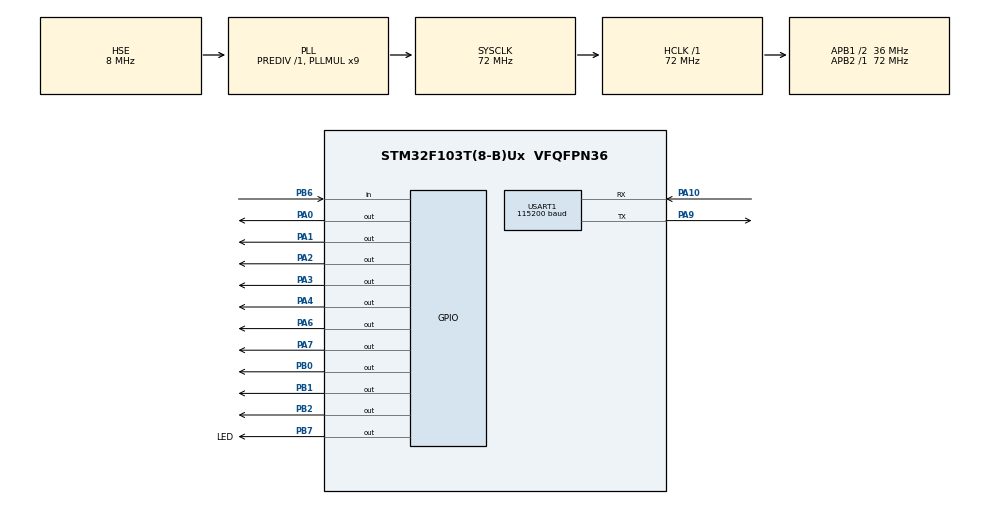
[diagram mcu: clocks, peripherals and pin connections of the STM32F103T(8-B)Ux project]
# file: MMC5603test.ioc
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Dma.Request0=USART1_RX
Dma.Request1=USART1_TX
Dma.USART1_RX.0.Direction=DMA_PERIPH_TO_MEMORY
Dma.USART1_RX.0.Instance=DMA1_Channel5
Dma.USART1_RX.0.MemDataAlignment=DMA_MDATAALIGN_BYTE
Dma.USART1_RX.0.MemInc=DMA_MINC_ENABLE
Dma.USART1_RX.0.Mode=DMA_NORMAL
Dma.USART1_RX.0.PeriphDataAlignment=DMA_PDATAALIGN_BYTE
Dma.USART1_RX.0.PeriphInc=DMA_PINC_DISABLE
Dma.USART1_RX.0.Priority=DMA_PRIORITY_LOW
Dma.USART1_TX.1.Direction=DMA_MEMORY_TO_PERIPH
Dma.USART1_TX.1.Instance=DMA1_Channel4
Dma.USART1_TX.1.MemDataAlignment=DMA_MDATAALIGN_BYTE
Dma.USART1_TX.1.MemInc=DMA_MINC_ENABLE
Dma.USART1_TX.1.Mode=DMA_NORMAL
Dma.USART1_TX.1.PeriphDataAlignment=DMA_PDATAALIGN_BYTE
Dma.USART1_TX.1.PeriphInc=DMA_PINC_DISABLE
Dma.USART1_TX.1.Priority=DMA_PRIORITY_VERY_HIGH
Mcu.Family=STM32F1
Mcu.Name=STM32F103T(8-B)Ux
Mcu.Package=VFQFPN36
NVIC.DMA1_Channel4_IRQn=true\:0\:0\:false\:false\:true\:false\:true\:true
NVIC.DMA1_Channel5_IRQn=true\:0\:0\:false\:false\:true\:false\:true\:true
NVIC.PriorityGroup=NVIC_PRIORITYGROUP_4
NVIC.TIM2_IRQn=true\:0\:0\:false\:false\:true\:true\:true\:true
NVIC.USART1_IRQn=true\:0\:0\:false\:false\:true\:true\:true\:true
PA0-WKUP.GPIO_ModeDefaultOutputPP=GPIO_MODE_OUTPUT_OD
PA0-WKUP.GPIO_PuPd=GPIO_NOPULL
PA0-WKUP.GPIO_Speed=GPIO_SPEED_FREQ_HIGH
PA0-WKUP.PinState=GPIO_PIN_SET
PA0-WKUP.Signal=GPIO_Output
PA1.GPIO_ModeDefaultOutputPP=GPIO_MODE_OUTPUT_OD
PA1.GPIO_PuPd=GPIO_NOPULL
PA1.GPIO_Speed=GPIO_SPEED_FREQ_HIGH
PA1.PinState=GPIO_PIN_SET
PA1.Signal=GPIO_Output
PA10.GPIO_PuPd=GPIO_PULLUP
PA10.Mode=Asynchronous
PA10.Signal=USART1_RX
PA13.Mode=Serial_Wire
PA13.Signal=SYS_JTMS-SWDIO
PA14.Mode=Serial_Wire
PA14.Signal=SYS_JTCK-SWCLK
PA2.GPIO_ModeDefaultOutputPP=GPIO_MODE_OUTPUT_OD
PA2.GPIO_PuPd=GPIO_NOPULL
PA2.GPIO_Speed=GPIO_SPEED_FREQ_HIGH
PA2.PinState=GPIO_PIN_SET
PA2.Signal=GPIO_Output
PA3.GPIO_ModeDefaultOutputPP=GPIO_MODE_OUTPUT_OD
PA3.GPIO_PuPd=GPIO_NOPULL
PA3.GPIO_Speed=GPIO_SPEED_FREQ_HIGH
PA3.PinState=GPIO_PIN_SET
PA3.Signal=GPIO_Output
PA4.GPIO_ModeDefaultOutputPP=GPIO_MODE_OUTPUT_OD
PA4.GPIO_PuPd=GPIO_NOPULL
PA4.GPIO_Speed=GPIO_SPEED_FREQ_HIGH
PA4.PinState=GPIO_PIN_SET
PA4.Signal=GPIO_Output
PA6.GPIO_ModeDefaultOutputPP=GPIO_MODE_OUTPUT_OD
PA6.GPIO_PuPd=GPIO_NOPULL
PA6.GPIO_Speed=GPIO_SPEED_FREQ_HIGH
PA6.PinState=GPIO_PIN_SET
PA6.Signal=GPIO_Output
PA7.GPIO_ModeDefaultOutputPP=GPIO_MODE_OUTPUT_OD
PA7.GPIO_PuPd=GPIO_NOPULL
PA7.GPIO_Speed=GPIO_SPEED_FREQ_HIGH
PA7.PinState=GPIO_PIN_SET
PA7.Signal=GPIO_Output
PA9.Mode=Asynchronous
PA9.Signal=USART1_TX
PB0.GPIO_ModeDefaultOutputPP=GPIO_MODE_OUTPUT_OD
PB0.GPIO_PuPd=GPIO_NOPULL
PB0.GPIO_Speed=GPIO_SPEED_FREQ_HIGH
PB0.PinState=GPIO_PIN_SET
PB0.Signal=GPIO_Output
PB1.GPIO_ModeDefaultOutputPP=GPIO_MODE_OUTPUT_OD
PB1.GPIO_PuPd=GPIO_NOPULL
PB1.GPIO_Speed=GPIO_SPEED_FREQ_HIGH
PB1.PinState=GPIO_PIN_SET
PB1.Signal=GPIO_Output
PB2.GPIO_ModeDefaultOutputPP=GPIO_MODE_OUTPUT_OD
PB2.GPIO_PuPd=GPIO_NOPULL
PB2.GPIO_Speed=GPIO_SPEED_FREQ_HIGH
PB2.PinState=GPIO_PIN_SET
PB2.Signal=GPIO_Output
PB6.GPIO_Mode=GPIO_MODE_INPUT
PB6.GPIO_PuPd=GPIO_PULLUP
PB6.Signal=GPIO_Input
PB7.GPIO_Label=LED
PB7.GPIO_Speed=GPIO_SPEED_FREQ_HIGH
PB7.Signal=GPIO_Output
PD0-OSC_IN.Mode=HSE-External-Oscillator
PD0-OSC_IN.Signal=RCC_OSC_IN
PD1-OSC_OUT.Mode=HSE-External-Oscillator
PD1-OSC_OUT.Signal=RCC_OSC_OUT
ProjectManager.HeapSize=0x200
ProjectManager.StackSize=0x400
ProjectManager.TargetToolchain=MDK-ARM V5.32
RCC.AHBFreq_Value=72000000
RCC.APB1CLKDivider=RCC_HCLK_DIV2
RCC.APB1Freq_Value=36000000
RCC.APB1TimFreq_Value=72000000
RCC.APB2Freq_Value=72000000
RCC.APB2TimFreq_Value=72000000
RCC.HCLKFreq_Value=72000000
RCC.PLLMUL=RCC_PLL_MUL9
RCC.PLLSourceVirtual=RCC_PLLSOURCE_HSE
RCC.SYSCLKFreq_VALUE=72000000
RCC.SYSCLKSource=RCC_SYSCLKSOURCE_PLLCLK
RCC.USBFreq_Value=72000000
TIM1.Prescaler=72-1
TIM2.Prescaler=7200-1
USART1.BaudRate=115200
USART1.VirtualMode=VM_ASYNC
VP_TIM1_VS_ClockSourceINT.Mode=Internal
VP_TIM2_VS_ClockSourceINT.Mode=Internal
board=custom

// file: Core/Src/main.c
/* USER CODE BEGIN Header */
/**
  ******************************************************************************
  * @file           : main.c
  * @brief          : Main program body
  ******************************************************************************
  * @attention
  *
  * Copyright (c) 2023 STMicroelectronics.
  * All rights reserved.
  *
  * This software is licensed under terms that can be found in the LICENSE file
  * in the root directory of this software component.
  * If no LICENSE file comes with this software, it is provided AS-IS.
  *
  ******************************************************************************
  */
/* USER CODE END Header */
#include "main.h"
#include "dma.h"
#include "tim.h"
#include "usart.h"
#include "gpio.h"

/* USER CODE BEGIN Includes */
#include <stdio.h>
#include "math.h"
#include "I2C_SW.h"
#include <string.h>
#include <stdlib.h>
/* USER CODE END Includes */

/* USER CODE BEGIN PV */
int32_t sensorValBuffer[5][5][4] = {0}; // x,y,z,Mag
uint32_t errorVal[1000];
int parameterM;
int minIndex;
uint8_t totalTestBit = 1;
SWI2C sensorList[25]={
	{GPIOA,GPIO_PIN_6,GPIOA,GPIO_PIN_0},
	{GPIOA,GPIO_PIN_6,GPIOA,GPIO_PIN_1},
	{GPIOA,GPIO_PIN_6,GPIOA,GPIO_PIN_2},
	{GPIOA,GPIO_PIN_6,GPIOA,GPIO_PIN_3},
	{GPIOA,GPIO_PIN_6,GPIOA,GPIO_PIN_4},

	{GPIOA,GPIO_PIN_7,GPIOA,GPIO_PIN_0},
	{GPIOA,GPIO_PIN_7,GPIOA,GPIO_PIN_1},
	{GPIOA,GPIO_PIN_7,GPIOA,GPIO_PIN_2},
	{GPIOA,GPIO_PIN_7,GPIOA,GPIO_PIN_3},
	{GPIOA,GPIO_PIN_7,GPIOA,GPIO_PIN_4},

	{GPIOB,GPIO_PIN_0,GPIOA,GPIO_PIN_0},
	{GPIOB,GPIO_PIN_0,GPIOA,GPIO_PIN_1},
	{GPIOB,GPIO_PIN_0,GPIOA,GPIO_PIN_2},
	{GPIOB,GPIO_PIN_0,GPIOA,GPIO_PIN_3},
	{GPIOB,GPIO_PIN_0,GPIOA,GPIO_PIN_4},

	{GPIOB,GPIO_PIN_1,GPIOA,GPIO_PIN_0},
	{GPIOB,GPIO_PIN_1,GPIOA,GPIO_PIN_1},
	{GPIOB,GPIO_PIN_1,GPIOA,GPIO_PIN_2},
	{GPIOB,GPIO_PIN_1,GPIOA,GPIO_PIN_3},
	{GPIOB,GPIO_PIN_1,GPIOA,GPIO_PIN_4},

	{GPIOB,GPIO_PIN_2,GPIOA,GPIO_PIN_0},
	{GPIOB,GPIO_PIN_2,GPIOA,GPIO_PIN_1},
	{GPIOB,GPIO_PIN_2,GPIOA,GPIO_PIN_2},
	{GPIOB,GPIO_PIN_2,GPIOA,GPIO_PIN_3},
	{GPIOB,GPIO_PIN_2,GPIOA,GPIO_PIN_4}

};

uint8_t txBuffer[1000];
/* USER CODE END PV */

void SystemClock_Config(void);

/* USER CODE BEGIN 0 */

// read who-am-i register
int testSensor(SWI2C sensorLabel){

	i2c_start(sensorLabel);
	i2c_send(sensorLabel,0x60); // Dummy Write 0x30 1
	if(i2c_wit_ack(sensorLabel)) printf("No ACK\n");
	i2c_send(sensorLabel,0x39);
	if(i2c_wit_ack(sensorLabel)) printf("No ACK\n");

	delay_us(50);
	i2c_start(sensorLabel);
	i2c_send(sensorLabel,0x61); // Read 0x30 1
	if(i2c_wit_ack(sensorLabel)) printf("No ACK\n");
	uint8_t dataSent = i2c_read(sensorLabel);
	i2c_no_ack(sensorLabel);
	i2c_stop(sensorLabel);
	if(dataSent == 0x10) {
		//printf("Test Succcess\n");
		return 1;
	}
	return 0;
}

void sensorInit(SWI2C sensorLabel){
	//Enable Continuous mode
	uint8_t dataByte = 0xff;
	i2cWriteByte(sensorLabel,0x60,0x1A,1,&dataByte);	// Write ODR
	dataByte = 0xA0;
	i2cWriteByte(sensorLabel,0x60,0x1B,1,&dataByte);	// Write CR0
	dataByte = 0x10;
	i2cWriteByte(sensorLabel,0x60,0x1D,1,&dataByte);	// Write CR2

}

void readSensorData(SWI2C sensorLabel,uint32_t* dataBuf){
	uint8_t iicDataBuffer[32];
	i2cReadByte(sensorLabel,0x60,0x00,8,iicDataBuffer);
	dataBuf[0] = (uint32_t)iicDataBuffer[0] << 12 | (uint32_t)iicDataBuffer[1] << 4 |
      (uint32_t)iicDataBuffer[6] >> 4;
	dataBuf[1] = (uint32_t)iicDataBuffer[2] << 12 | (uint32_t)iicDataBuffer[3] << 4 |
      (uint32_t)iicDataBuffer[7] >> 4;
	dataBuf[2] = (uint32_t)iicDataBuffer[4] << 12 | (uint32_t)iicDataBuffer[5] << 4 |
      (uint32_t)iicDataBuffer[8] >> 4;
	dataBuf[0] -= (uint32_t)1<<19;
	dataBuf[1] -= (uint32_t)1<<19;
	dataBuf[2] -= (uint32_t)1<<19;
}

int fastAbs(int inputNum){
	return ((inputNum >> 31) | 1) * inputNum;
}
/* USER CODE END 0 */

int main(void)
{

  /* MCU Configuration--------------------------------------------------------*/

  /* Reset of all peripherals, Initializes the Flash interface and the Systick. */
  HAL_Init();

  /* Configure the system clock */
  SystemClock_Config();

  /* Initialize all configured peripherals */
  MX_GPIO_Init();
  MX_DMA_Init();
  MX_USART1_UART_Init();
  MX_TIM2_Init();
  MX_TIM1_Init();
  /* USER CODE BEGIN 2 */
	HAL_TIM_Base_Start(&htim1);
	HAL_TIM_Base_Start(&htim2);
  /* USER CODE END 2 */

  /* Infinite loop */
  /* USER CODE BEGIN WHILE */
	int TargetMagX,TargetMagY,TargetMagZ;
	int relativeX,relativeY,relativeZ;
	int minNum;
	for(int i=0;i<25;i++){
		if(testSensor(sensorList[i])==0){
			totalTestBit=0;
		}
	 }
	if(totalTestBit)
		printf("25 Test Succcess\n");
	for(int i=0;i<25;i++)
		sensorInit(sensorList[i]);
	int testVal[3] = {0};
	int timeSpent;
  while (1)
  {
    /* USER CODE END WHILE */

    /* USER CODE BEGIN 3 */
	for(int i=0;i<25;i++){
		readSensorData(sensorList[i],(uint32_t*)sensorValBuffer[i/5][i%5]);
	}
	//uint8_t strLen =
	sprintf((char *)txBuffer, "U %d %d %d %d %d %d %d %d %d %d %d %d %d %d %d %d %d %d %d %d %d %d %d %d %d\n"
														"V %d %d %d %d %d %d %d %d %d %d %d %d %d %d %d %d %d %d %d %d %d %d %d %d %d\n"
														"W %d %d %d %d %d %d %d %d %d %d %d %d %d %d %d %d %d %d %d %d %d %d %d %d %d\n",
														sensorValBuffer[0][0][0],sensorValBuffer[0][1][0],sensorValBuffer[0][2][0],sensorValBuffer[0][3][0],sensorValBuffer[0][4][0],
														sensorValBuffer[1][0][0],sensorValBuffer[1][1][0],sensorValBuffer[1][2][0],sensorValBuffer[1][3][0],sensorValBuffer[1][4][0],
														sensorValBuffer[2][0][0],sensorValBuffer[2][1][0],sensorValBuffer[2][2][0],sensorValBuffer[2][3][0],sensorValBuffer[2][4][0],
														sensorValBuffer[3][0][0],sensorValBuffer[3][1][0],sensorValBuffer[3][2][0],sensorValBuffer[3][3][0],sensorValBuffer[3][4][0],
														sensorValBuffer[4][0][0],sensorValBuffer[4][1][0],sensorValBuffer[4][2][0],sensorValBuffer[4][3][0],sensorValBuffer[4][4][0],
														sensorValBuffer[0][0][1],sensorValBuffer[0][1][1],sensorValBuffer[0][2][1],sensorValBuffer[0][3][1],sensorValBuffer[0][4][1],
														sensorValBuffer[1][0][1],sensorValBuffer[1][1][1],sensorValBuffer[1][2][1],sensorValBuffer[1][3][1],sensorValBuffer[1][4][1],
														sensorValBuffer[2][0][1],sensorValBuffer[2][1][1],sensorValBuffer[2][2][1],sensorValBuffer[2][3][1],sensorValBuffer[2][4][1],
														sensorValBuffer[3][0][1],sensorValBuffer[3][1][1],sensorValBuffer[3][2][1],sensorValBuffer[3][3][1],sensorValBuffer[3][4][1],
														sensorValBuffer[4][0][1],sensorValBuffer[4][1][1],sensorValBuffer[4][2][1],sensorValBuffer[4][3][1],sensorValBuffer[4][4][1],
														sensorValBuffer[0][0][2],sensorValBuffer[0][1][2],sensorValBuffer[0][2][2],sensorValBuffer[0][3][2],sensorValBuffer[0][4][2],
														sensorValBuffer[1][0][2],sensorValBuffer[1][1][2],sensorValBuffer[1][2][2],sensorValBuffer[1][3][2],sensorValBuffer[1][4][2],
														sensorValBuffer[2][0][2],sensorValBuffer[2][1][2],sensorValBuffer[2][2][2],sensorValBuffer[2][3][2],sensorValBuffer[2][4][2],
														sensorValBuffer[3][0][2],sensorValBuffer[3][1][2],sensorValBuffer[3][2][2],sensorValBuffer[3][3][2],sensorValBuffer[3][4][2],
														sensorValBuffer[4][0][2],sensorValBuffer[4][1][2],sensorValBuffer[4][2][2],sensorValBuffer[4][3][2],sensorValBuffer[4][4][2]);

	HAL_UART_Transmit_DMA(&huart1, txBuffer, strlen((char *)txBuffer));

	HAL_GPIO_TogglePin(LED_GPIO_Port, LED_Pin);
  }
  /* USER CODE END 3 */
}

void SystemClock_Config(void)
{
  RCC_OscInitTypeDef RCC_OscInitStruct = {0};
  RCC_ClkInitTypeDef RCC_ClkInitStruct = {0};

  /** Initializes the RCC Oscillators according to the specified parameters
  * in the RCC_OscInitTypeDef structure.
  */
  RCC_OscInitStruct.OscillatorType = RCC_OSCILLATORTYPE_HSE;
  RCC_OscInitStruct.HSEState = RCC_HSE_ON;
  RCC_OscInitStruct.HSEPredivValue = RCC_HSE_PREDIV_DIV1;
  RCC_OscInitStruct.HSIState = RCC_HSI_ON;
  RCC_OscInitStruct.PLL.PLLState = RCC_PLL_ON;
  RCC_OscInitStruct.PLL.PLLSource = RCC_PLLSOURCE_HSE;
  RCC_OscInitStruct.PLL.PLLMUL = RCC_PLL_MUL9;
  if (HAL_RCC_OscConfig(&RCC_OscInitStruct) != HAL_OK)
  {
    Error_Handler();
  }

  /** Initializes the CPU, AHB and APB buses clocks
  */
  RCC_ClkInitStruct.ClockType = RCC_CLOCKTYPE_HCLK|RCC_CLOCKTYPE_SYSCLK
                              |RCC_CLOCKTYPE_PCLK1|RCC_CLOCKTYPE_PCLK2;
  RCC_ClkInitStruct.SYSCLKSource = RCC_SYSCLKSOURCE_PLLCLK;
  RCC_ClkInitStruct.AHBCLKDivider = RCC_SYSCLK_DIV1;
  RCC_ClkInitStruct.APB1CLKDivider = RCC_HCLK_DIV2;
  RCC_ClkInitStruct.APB2CLKDivider = RCC_HCLK_DIV1;

  if (HAL_RCC_ClockConfig(&RCC_ClkInitStruct, FLASH_LATENCY_2) != HAL_OK)
  {
    Error_Handler();
  }
}

/* USER CODE BEGIN 4 */
	int fgetc(FILE *f)
	{
	  uint8_t ch = 0;
	  HAL_UART_Receive(&huart1, &ch, 1, 0xffff);
	  return ch;
	}

	int fputc(int ch, FILE *f)
	{
	  HAL_UART_Transmit(&huart1, (uint8_t *)&ch, 1, 0xffff);
	  return ch;
	}
/* USER CODE END 4 */

void Error_Handler(void)
{
  __disable_irq();
  while (1)
  {
  }
}
